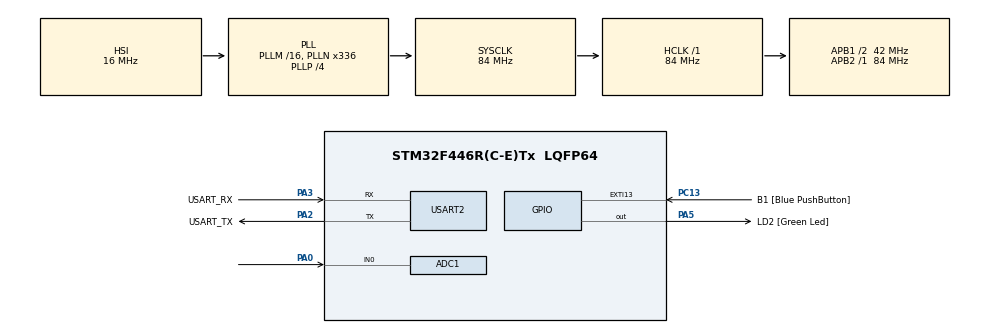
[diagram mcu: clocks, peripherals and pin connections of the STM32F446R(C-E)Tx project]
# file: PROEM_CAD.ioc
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ADC1.Channel-0\#ChannelRegularConversion=ADC_CHANNEL_0
ADC1.Channel-1\#ChannelRegularConversion=ADC_CHANNEL_TEMPSENSOR
ADC1.NbrOfConversion=2
ADC1.NbrOfConversionFlag=1
ADC1.Rank-0\#ChannelRegularConversion=1
ADC1.Rank-1\#ChannelRegularConversion=2
ADC1.SamplingTime-0\#ChannelRegularConversion=ADC_SAMPLETIME_3CYCLES
ADC1.SamplingTime-1\#ChannelRegularConversion=ADC_SAMPLETIME_480CYCLES
ADC1.master=1
Mcu.Family=STM32F4
Mcu.Name=STM32F446R(C-E)Tx
Mcu.Package=LQFP64
NVIC.PriorityGroup=NVIC_PRIORITYGROUP_0
PA0-WKUP.Signal=ADCx_IN0
PA13.GPIO_Label=TMS
PA13.Mode=Serial_Wire
PA13.Signal=SYS_JTMS-SWDIO
PA14.GPIO_Label=TCK
PA14.Mode=Serial_Wire
PA14.Signal=SYS_JTCK-SWCLK
PA2.GPIO_Label=USART_TX
PA2.Mode=Asynchronous
PA2.Signal=USART2_TX
PA3.GPIO_Label=USART_RX
PA3.Mode=Asynchronous
PA3.Signal=USART2_RX
PA5.GPIO_Label=LD2 [Green Led]
PA5.Signal=GPIO_Output
PB3.GPIO_Label=SWO
PB3.Signal=SYS_JTDO-SWO
PC13.GPIO_Label=B1 [Blue PushButton]
PC13.GPIO_ModeDefaultEXTI=GPIO_MODE_IT_FALLING
PC13.Signal=GPXTI13
PC14-OSC32_IN.Mode=LSE-External-Oscillator
PC14-OSC32_IN.Signal=RCC_OSC32_IN
PC15-OSC32_OUT.Mode=LSE-External-Oscillator
PC15-OSC32_OUT.Signal=RCC_OSC32_OUT
PH0-OSC_IN.Mode=HSE-External-Oscillator
PH0-OSC_IN.Signal=RCC_OSC_IN
PH1-OSC_OUT.Mode=HSE-External-Oscillator
PH1-OSC_OUT.Signal=RCC_OSC_OUT
ProjectManager.HeapSize=0x200
ProjectManager.StackSize=0x400
ProjectManager.TargetToolchain=STM32CubeIDE
RCC.48MHZClocksFreq_Value=84000000
RCC.AHBFreq_Value=84000000
RCC.APB1CLKDivider=RCC_HCLK_DIV2
RCC.APB1Freq_Value=42000000
RCC.APB1TimFreq_Value=84000000
RCC.APB2Freq_Value=84000000
RCC.APB2TimFreq_Value=84000000
RCC.CortexFreq_Value=84000000
RCC.FLatency-AdvancedSettings=FLASH_LATENCY_2
RCC.HCLKFreq_Value=84000000
RCC.HSE_VALUE=8000000
RCC.HSI_VALUE=16000000
RCC.PLLN=336
RCC.PLLP=RCC_PLLP_DIV4
RCC.SYSCLKFreq_VALUE=84000000
RCC.SYSCLKSource=RCC_SYSCLKSOURCE_PLLCLK
RCC.USBFreq_Value=168000000
RCC.VCOOutputFreq_Value=336000000
SH.ADCx_IN0.0=ADC1_IN0,IN0
USART2.VirtualMode=VM_ASYNC
VP_ADC1_TempSens_Input.Mode=IN-TempSens
board=NUCLEO-F446RE

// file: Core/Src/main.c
/* USER CODE BEGIN Header */
/**
  ******************************************************************************
  * @file           : main.c
  * @brief          : Main program body
  ******************************************************************************
  * @attention
  *
  * Copyright (c) 2022 STMicroelectronics.
  * All rights reserved.
  *
  * This software is licensed under terms that can be found in the LICENSE file
  * in the root directory of this software component.
  * If no LICENSE file comes with this software, it is provided AS-IS.
  *
  ******************************************************************************
  */
/* USER CODE END Header */
#include "main.h"

/* USER CODE BEGIN Includes */
#include "stdio.h"
/* USER CODE END Includes */

ADC_HandleTypeDef hadc1;

UART_HandleTypeDef huart2;

void SystemClock_Config(void);
static void MX_GPIO_Init(void);
static void MX_USART2_UART_Init(void);
static void MX_ADC1_Init(void);
/* USER CODE BEGIN PFP */
void ADC1_Init(void);
/* USER CODE END PFP */

int main(void)
{
  /* USER CODE BEGIN 1 */
	uint16_t CAD;
	uint32_t size;
	char sCAD[10] = {0};
  /* USER CODE END 1 */

  /* MCU Configuration--------------------------------------------------------*/

  /* Reset of all peripherals, Initializes the Flash interface and the Systick. */
  HAL_Init();

  /* Configure the system clock */
  SystemClock_Config();

  /* Initialize all configured peripherals */
  MX_GPIO_Init();
  MX_USART2_UART_Init();
  MX_ADC1_Init();
  /* USER CODE BEGIN 2 */
  //ADC1_Init(); //Registradores
  HAL_ADC_Start(&hadc1); //MX + HAL
  /* USER CODE END 2 */

  /* Infinite loop */
  /* USER CODE BEGIN WHILE */
  while (1)
  {
	  /* Via registradores */
	  //Dispara uma conversão
//	  ADC1->CR2 |= ADC_CR2_SWSTART;
//	  //Espera concluir a conversão
//	  while(!(ADC1->SR & ADC_SR_EOC));
//	  //Lê o resultado
//	  CAD = ADC1->DR & 0xFFF;
//	  //Converte para string
//	  size = sprintf(sCAD,"%u\r\n",CAD);//Incluir stdio.h
//	  //Envia pela serial
//	  HAL_UART_Transmit(&huart2, sCAD, size, 100);
//	  //Delay
//	  HAL_Delay(1000);

	  /* Via HAL + MX */
	  if(HAL_ADC_PollForConversion(&hadc1, 5) == HAL_OK)
	  {
		  CAD = HAL_ADC_GetValue(&hadc1);
		  size = sprintf(sCAD,"%u\n",CAD);
		  HAL_UART_Transmit(&huart2, sCAD, size, 100);
		  HAL_Delay(100);
	  }
    /* USER CODE END WHILE */

  }
}

void SystemClock_Config(void)
{
  RCC_OscInitTypeDef RCC_OscInitStruct = {0};
  RCC_ClkInitTypeDef RCC_ClkInitStruct = {0};

  /** Configure the main internal regulator output voltage
  */
  __HAL_RCC_PWR_CLK_ENABLE();
  __HAL_PWR_VOLTAGESCALING_CONFIG(PWR_REGULATOR_VOLTAGE_SCALE3);

  /** Initializes the RCC Oscillators according to the specified parameters
  * in the RCC_OscInitTypeDef structure.
  */
  RCC_OscInitStruct.OscillatorType = RCC_OSCILLATORTYPE_HSI;
  RCC_OscInitStruct.HSIState = RCC_HSI_ON;
  RCC_OscInitStruct.HSICalibrationValue = RCC_HSICALIBRATION_DEFAULT;
  RCC_OscInitStruct.PLL.PLLState = RCC_PLL_ON;
  RCC_OscInitStruct.PLL.PLLSource = RCC_PLLSOURCE_HSI;
  RCC_OscInitStruct.PLL.PLLM = 16;
  RCC_OscInitStruct.PLL.PLLN = 336;
  RCC_OscInitStruct.PLL.PLLP = RCC_PLLP_DIV4;
  RCC_OscInitStruct.PLL.PLLQ = 2;
  RCC_OscInitStruct.PLL.PLLR = 2;
  if (HAL_RCC_OscConfig(&RCC_OscInitStruct) != HAL_OK)
  {
    Error_Handler();
  }

  /** Initializes the CPU, AHB and APB buses clocks
  */
  RCC_ClkInitStruct.ClockType = RCC_CLOCKTYPE_HCLK|RCC_CLOCKTYPE_SYSCLK
                              |RCC_CLOCKTYPE_PCLK1|RCC_CLOCKTYPE_PCLK2;
  RCC_ClkInitStruct.SYSCLKSource = RCC_SYSCLKSOURCE_PLLCLK;
  RCC_ClkInitStruct.AHBCLKDivider = RCC_SYSCLK_DIV1;
  RCC_ClkInitStruct.APB1CLKDivider = RCC_HCLK_DIV2;
  RCC_ClkInitStruct.APB2CLKDivider = RCC_HCLK_DIV1;

  if (HAL_RCC_ClockConfig(&RCC_ClkInitStruct, FLASH_LATENCY_2) != HAL_OK)
  {
    Error_Handler();
  }
}

static void MX_ADC1_Init(void)
{

  ADC_ChannelConfTypeDef sConfig = {0};

  /** Configure the global features of the ADC (Clock, Resolution, Data Alignment and number of conversion)
  */
  hadc1.Instance = ADC1;
  hadc1.Init.ClockPrescaler = ADC_CLOCK_SYNC_PCLK_DIV4;
  hadc1.Init.Resolution = ADC_RESOLUTION_12B;
  hadc1.Init.ScanConvMode = ENABLE;
  hadc1.Init.ContinuousConvMode = DISABLE;
  hadc1.Init.DiscontinuousConvMode = DISABLE;
  hadc1.Init.ExternalTrigConvEdge = ADC_EXTERNALTRIGCONVEDGE_NONE;
  hadc1.Init.ExternalTrigConv = ADC_SOFTWARE_START;
  hadc1.Init.DataAlign = ADC_DATAALIGN_RIGHT;
  hadc1.Init.NbrOfConversion = 2;
  hadc1.Init.DMAContinuousRequests = DISABLE;
  hadc1.Init.EOCSelection = ADC_EOC_SINGLE_CONV;
  if (HAL_ADC_Init(&hadc1) != HAL_OK)
  {
    Error_Handler();
  }

  /** Configure for the selected ADC regular channel its corresponding rank in the sequencer and its sample time.
  */
  sConfig.Channel = ADC_CHANNEL_0;
  sConfig.Rank = 1;
  sConfig.SamplingTime = ADC_SAMPLETIME_3CYCLES;
  if (HAL_ADC_ConfigChannel(&hadc1, &sConfig) != HAL_OK)
  {
    Error_Handler();
  }

  /** Configure for the selected ADC regular channel its corresponding rank in the sequencer and its sample time.
  */
  sConfig.Channel = ADC_CHANNEL_TEMPSENSOR;
  sConfig.Rank = 2;
  sConfig.SamplingTime = ADC_SAMPLETIME_480CYCLES;
  if (HAL_ADC_ConfigChannel(&hadc1, &sConfig) != HAL_OK)
  {
    Error_Handler();
  }

}

static void MX_USART2_UART_Init(void)
{

  huart2.Instance = USART2;
  huart2.Init.BaudRate = 115200;
  huart2.Init.WordLength = UART_WORDLENGTH_8B;
  huart2.Init.StopBits = UART_STOPBITS_1;
  huart2.Init.Parity = UART_PARITY_NONE;
  huart2.Init.Mode = UART_MODE_TX_RX;
  huart2.Init.HwFlowCtl = UART_HWCONTROL_NONE;
  huart2.Init.OverSampling = UART_OVERSAMPLING_16;
  if (HAL_UART_Init(&huart2) != HAL_OK)
  {
    Error_Handler();
  }

}

static void MX_GPIO_Init(void)
{
  GPIO_InitTypeDef GPIO_InitStruct = {0};

  /* GPIO Ports Clock Enable */
  __HAL_RCC_GPIOC_CLK_ENABLE();
  __HAL_RCC_GPIOH_CLK_ENABLE();
  __HAL_RCC_GPIOA_CLK_ENABLE();
  __HAL_RCC_GPIOB_CLK_ENABLE();

  /*Configure GPIO pin Output Level */
  HAL_GPIO_WritePin(LD2_GPIO_Port, LD2_Pin, GPIO_PIN_RESET);

  /*Configure GPIO pin : B1_Pin */
  GPIO_InitStruct.Pin = B1_Pin;
  GPIO_InitStruct.Mode = GPIO_MODE_IT_FALLING;
  GPIO_InitStruct.Pull = GPIO_NOPULL;
  HAL_GPIO_Init(B1_GPIO_Port, &GPIO_InitStruct);

  /*Configure GPIO pin : LD2_Pin */
  GPIO_InitStruct.Pin = LD2_Pin;
  GPIO_InitStruct.Mode = GPIO_MODE_OUTPUT_PP;
  GPIO_InitStruct.Pull = GPIO_NOPULL;
  GPIO_InitStruct.Speed = GPIO_SPEED_FREQ_LOW;
  HAL_GPIO_Init(LD2_GPIO_Port, &GPIO_InitStruct);

}

/* USER CODE BEGIN 4 */

//Função de inicialização do ADC1 e EA0 (PA0)
//modo polling (one-shot), APB2 (PCLK2) = 42 MHz
void ADC1_Init(void)
{
	uint32_t tmpreg = 0;
	//Configurar os GPIOs
	//Ativar o clock
	RCC->AHB1ENR |= RCC_AHB1ENR_GPIOAEN;
	//Aguardar o clock estabilizar
	tmpreg = RCC->AHB1ENR;
	//Definir o modo de funcionamento analógico (11)
	GPIOA->MODER |= GPIO_MODER_MODE0;
	//Desativar pullup e pulldown
	GPIOA->PUPDR &= ~GPIO_PUPDR_PUPD0;
	//Configurar o ADC1
	//Ativar o clock
	RCC->APB2ENR |= RCC_APB2ENR_ADC1EN;
	//Aguardar o clock estabilizar
	tmpreg = RCC->APB2ENR;
	//Desabilitar o ADC1
	ADC1->CR2 &= ~ADC_CR2_ADON;
	//Programar a resolução (00 = 12 bits)
	ADC1->CR1 &= ~ADC_CR1_RES;
	//Ajustar o alinhamento do resultado (0 = direita)
	ADC1->CR2 &= ~ADC_CR2_ALIGN;
	//Habilitar sinalização do bit EOC no final de uma conversão
	ADC1->CR2 |= ADC_CR2_EOCS;
	//Ajustar o tempo de conversão do canal 0 (001 = 15 ciclos de
	//clock)
	ADC1->SMPR2 |= ADC_SMPR2_SMP0_0;
	//Definir a sequência regular de conversão (apenas 1
	//conversão, canal 0)
	ADC1->SQR1 &= ~ADC_SQR1_L_Msk; //Limpa os bits = 1 conversão
	ADC1->SQR3 &= ~ADC_SQR3_SQ1_Msk;//Limpa os bits = canal 0
	//Ajuste o prescaler do ADC (01 = div 4)
	ADC->CCR |= ADC_CCR_ADCPRE_0;
	//Habilitar o ADC1
	ADC1->CR2 |= ADC_CR2_ADON;
}

/* USER CODE END 4 */

void Error_Handler(void)
{
  __disable_irq();
  while (1)
  {
  }
}
